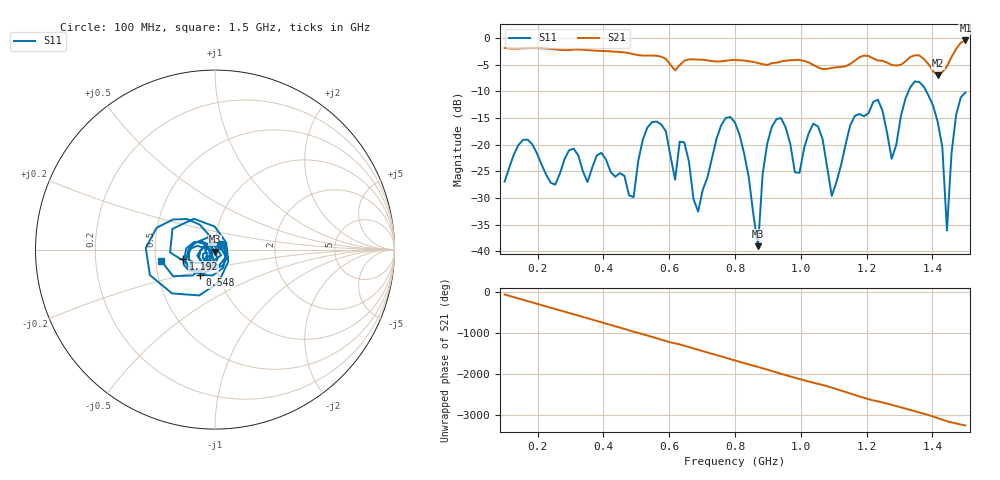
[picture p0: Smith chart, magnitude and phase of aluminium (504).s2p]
! NanoVNA-App
! Date: 2025-09-25 14:59:12
! Start: 100MHz Stop: 1,5GHz Points: 101
! S-Parameter data: F S11 S21 S12 S22
# Hz S RI R 50
!  Frequency  S11_Real  S11_Imag  S21_Real  S21_Imag  S12_Real  S12_Imag  S22_Real  S22_Imag
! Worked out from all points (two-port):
!   101 points, 100 MHz to 1.5 GHz, reference 50 ohm
!   highest |S21| = -0.49 dB at 1.5 GHz (marker M1); lowest = -7.0 dB at 1.416 GHz (marker M2)
!   |S21| within 3 dB of the highest: start of sweep to 572.7 MHz; 1.459 GHz to end of sweep (the widest 2 of 4)
!   lowest |S11| = -39.0 dB at 870 MHz (marker M3), VSWR 1.02, Z = 50.2 - j1.11 ohm
!   |S11| at or under -10 dB: start of sweep to 1.327 GHz; 1.381 GHz to end of sweep
!   S12 and S22 are empty: the file has one direction only
!   S11 on the Smith chart (normalised r, x): 100 MHz: 1.07, +0.06; 548 MHz: 0.82, -0.24; 1.192 GHz: 0.70, -0.08; 1.5 GHz: 0.53, -0.07
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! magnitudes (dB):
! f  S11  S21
! 100 MHz  -27.0  -1.9
! 156 MHz  -19.1  -2.0
! 338 MHz  -25.0  -2.2
! 492 MHz  -29.9  -3.1
! 548 MHz  -15.8  -3.3
! 576 MHz  -16.2  -3.5
! 646 MHz  -19.6  -4.3
! 688 MHz  -32.6  -4.1
! 800 MHz  -15.9  -4.2
! 870 MHz  -39.0  -4.7
! 912 MHz  -16.7  -4.7
! 996 MHz  -25.3  -4.1
! 1.038 GHz  -16.1  -5.1
! 1.094 GHz  -29.6  -5.6
! 1.192 GHz  -14.7  -3.3
! 1.234 GHz  -11.6  -4.2
! 1.276 GHz  -22.7  -5.1
! 1.346 GHz  -8.2  -3.3
! 1.416 GHz  -15.8  -7.0
! 1.444 GHz  -36.1  -5.4
! 1.472 GHz  -14.4  -2.1
! 1.5 GHz  -10.2  -0.5
